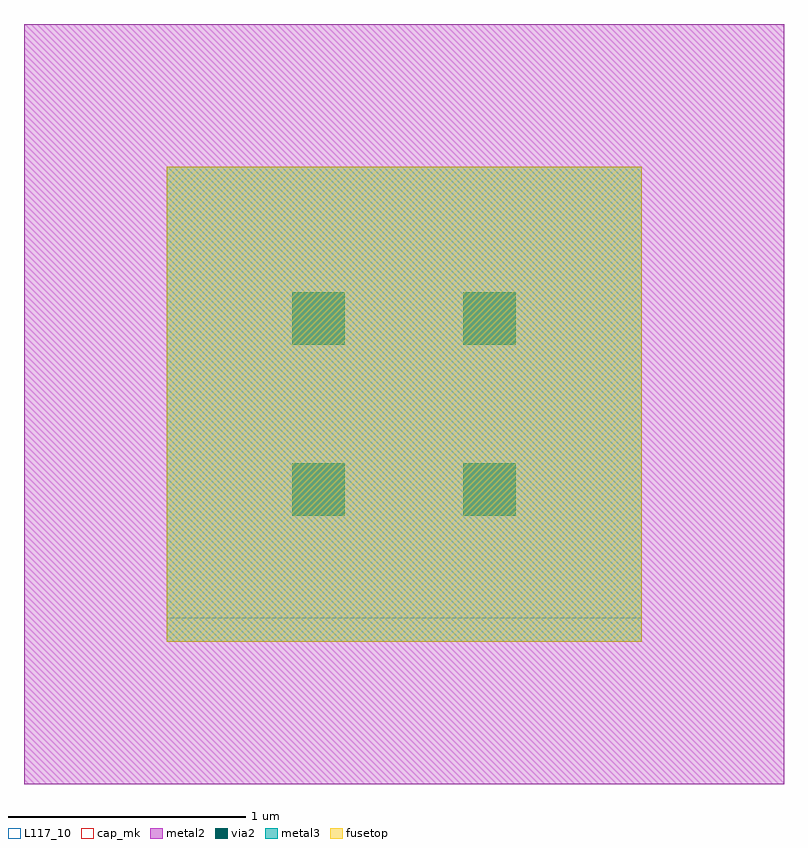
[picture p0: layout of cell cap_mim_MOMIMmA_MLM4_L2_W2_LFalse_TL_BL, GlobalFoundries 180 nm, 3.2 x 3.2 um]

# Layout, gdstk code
import gdstk
lib = gdstk.Library(unit=1e-6, precision=1e-09)
def R(c, l, rs):  # rectangles x0, y0, x1, y1
    for r in rs: c.add(gdstk.rectangle(r[:2], r[2:], *l))
metal2 = (36, 0)
via2 = (38, 0)
metal3 = (42, 0)
fusetop = (75, 0)
cap_mk = (117, 5)
L117_10 = (117, 10)

rectangle_gdsfactorypcom = lib.new_cell('rectangle_gdsfactorypcomponentspshapesprectangle_S2_2_L_026cab9f')
R(rectangle_gdsfactorypcom, metal3, [(0,0,2,2)])

c_rectangle_gdsfactorypcom = lib.new_cell('rectangle_gdsfactorypcomponentspshapesprectangle_S2_2_L_a10f3d3d')
R(c_rectangle_gdsfactorypcom, fusetop, [(0,0,2,2)])

c_rectangle_gdsfactorypcom_ = lib.new_cell('rectangle_gdsfactorypcomponentspshapesprectangle_S2_0p1_579dcd0c')
R(c_rectangle_gdsfactorypcom_, L117_10, [(0,0,2,0.1)])

c_rectangle_gdsfactorypcom__ = lib.new_cell('rectangle_gdsfactorypcomponentspshapesprectangle_S3p2_3_8418c6b4')
R(c_rectangle_gdsfactorypcom__, metal2, [(0,0,3.2,3.2)])

c_rectangle_gdsfactorypcom___ = lib.new_cell('rectangle_gdsfactorypcomponentspshapesprectangle_S3p2_3_df319ae4')
R(c_rectangle_gdsfactorypcom___, cap_mk, [(0,0,3.2,3.2)])

c_rectangle_gdsfactorypcom____ = lib.new_cell('rectangle_gdsfactorypcomponentspshapesprectangle_S0p22__0baf3652')
R(c_rectangle_gdsfactorypcom____, via2, [(0,0,0.22,0.22)])

via_generator_xr0_2_yr0_ = lib.new_cell('via_generator_XR0_2_YR0_2_VS0p22_0p22_VLvia2_VE0p4_0p4_VS0p5_0p5')
r = gdstk.Reference(c_rectangle_gdsfactorypcom____, (0.53,0.53)); r.repetition = gdstk.Repetition(2, 2, v1=(0.72,0), v2=(0,0.72)); via_generator_xr0_2_yr0_.add(r)

cap_mim_momimma_mlm4_l2_ = lib.new_cell('cap_mim_MOMIMmA_MLM4_L2_W2_LFalse_TL_BL')
cap_mim_momimma_mlm4_l2_.add(gdstk.Reference(rectangle_gdsfactorypcom, (0,0)))
cap_mim_momimma_mlm4_l2_.add(gdstk.Reference(c_rectangle_gdsfactorypcom, (0,0)))
cap_mim_momimma_mlm4_l2_.add(gdstk.Reference(c_rectangle_gdsfactorypcom_, (0,0)))
cap_mim_momimma_mlm4_l2_.add(gdstk.Reference(c_rectangle_gdsfactorypcom__, (-0.6,-0.6)))
cap_mim_momimma_mlm4_l2_.add(gdstk.Reference(c_rectangle_gdsfactorypcom___, (-0.6,-0.6)))
cap_mim_momimma_mlm4_l2_.add(gdstk.Reference(via_generator_xr0_2_yr0_, (0,0)))

lib.write_gds('cap_mim_MOMIMmA_MLM4_L2_W2_LFalse_TL_BL.gds')
